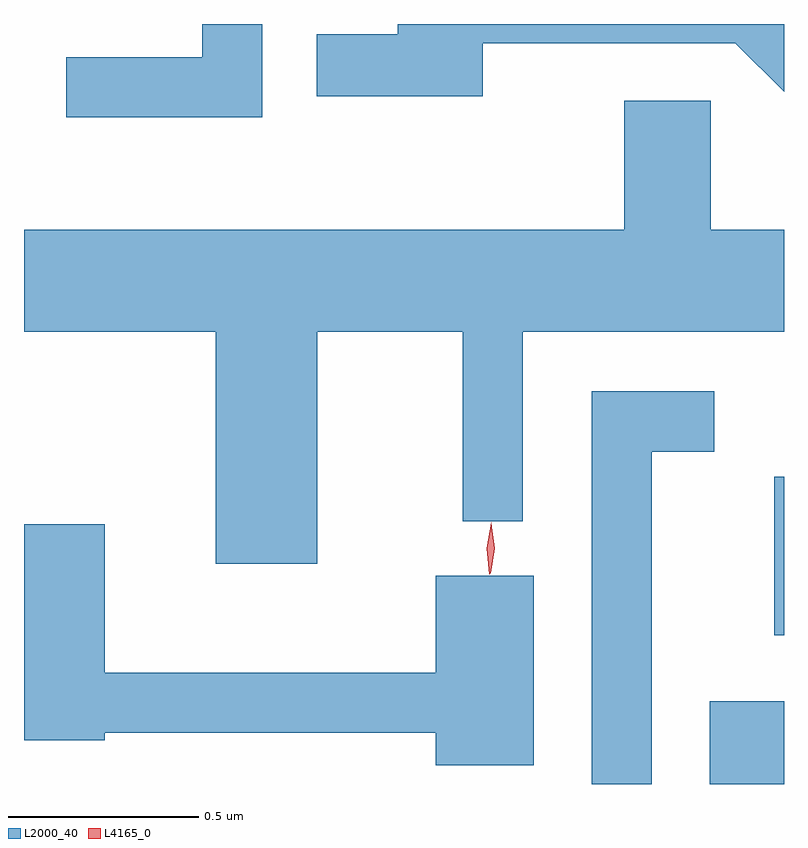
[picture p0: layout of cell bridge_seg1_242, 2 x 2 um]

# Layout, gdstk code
import gdstk
lib = gdstk.Library(unit=1e-6, precision=1e-09)
def R(c, l, rs):  # rectangles x0, y0, x1, y1
    for r in rs: c.add(gdstk.rectangle(r[:2], r[2:], *l))
def P(c, l, *ps):  # polygons
    for p in ps: c.add(gdstk.Polygon(p, *l))
L2000_40 = (2000, 40)
L4165_0 = (4165, 0)

bridge_seg1_242 = lib.new_cell('bridge_seg1_242')
R(bridge_seg1_242, L2000_40, [(815.776,873.966,815.972,874.184), (815.946,874.358,815.972,874.774)])
P(bridge_seg1_242, L2000_40, [(815.179,875.916),(815.844,875.916),(815.972,875.788),(815.972,875.966),(814.956,875.966),(814.956,875.939),(814.743,875.939),(814.743,875.776),(815.179,875.776)],
  [(814.599,875.966),(814.441,875.966),(814.441,875.879),(814.083,875.879),(814.083,875.721),(814.599,875.721)],
  [(814.744,875.156),(815.126,875.156),(815.126,874.658),(815.284,874.658),(815.284,875.156),(815.972,875.156),(815.972,875.424),(815.779,875.424),(815.779,875.764),(815.551,875.764),(815.551,875.424),(813.972,875.424),(813.972,875.156),(814.476,875.156),(814.476,874.546),(814.744,874.546)],
  [(815.624,874.841),(815.788,874.841),(815.788,874.999),(815.466,874.999),(815.466,873.966),(815.624,873.966)],
  [(815.314,874.514),(815.056,874.514),(815.056,874.259),(814.184,874.259),(814.184,874.649),(813.972,874.649),(813.972,874.081),(814.184,874.081),(814.184,874.101),(815.056,874.101),(815.056,874.016),(815.314,874.016)])
P(bridge_seg1_242, L4165_0, [(815.196,874.518),(815.19,874.587),(815.201,874.654),(815.202,874.655),(815.202,874.654),(815.209,874.586),(815.197,874.518),(815.197,874.518)],
  [(815.2,874.52),(815.199,874.521),(815.191,874.586),(815.201,874.651),(815.202,874.652),(815.202,874.651),(815.211,874.586),(815.2,874.521)])

lib.write_gds('bridge_seg1_242.gds')
